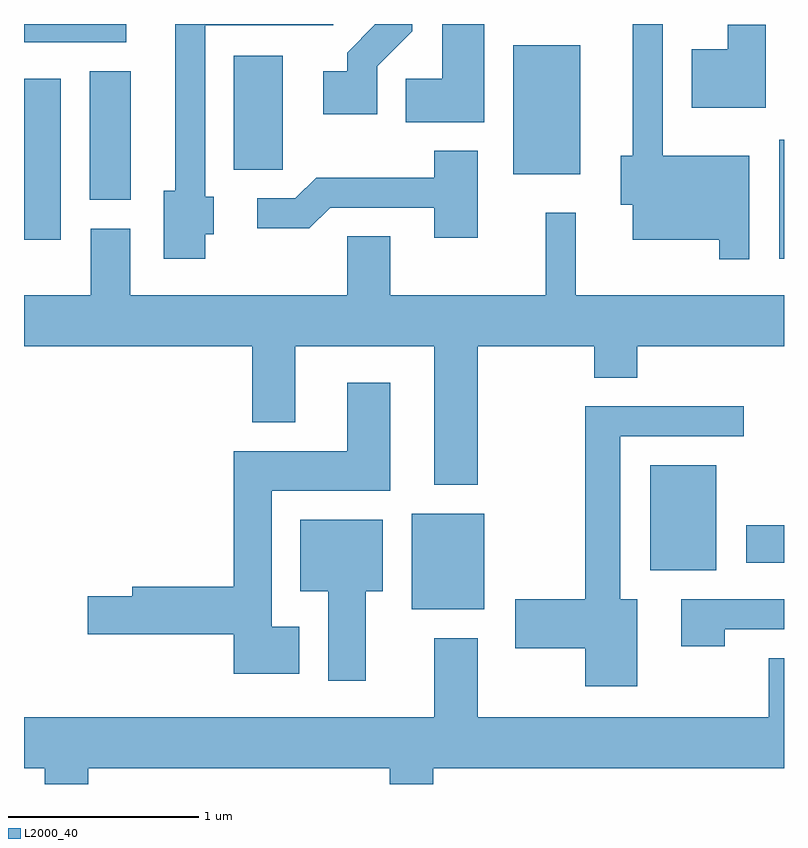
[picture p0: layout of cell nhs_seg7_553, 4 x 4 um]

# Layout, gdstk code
import gdstk
lib = gdstk.Library(unit=1e-6, precision=1e-09)
def R(c, l, rs):  # rectangles x0, y0, x1, y1
    for r in rs: c.add(gdstk.rectangle(r[:2], r[2:], *l))
def P(c, l, *ps):  # polygons
    for p in ps: c.add(gdstk.Polygon(p, *l))
L2000_40 = (2000, 40)

nhs_seg7_553 = lib.new_cell('nhs_seg7_553')
R(nhs_seg7_553, L2000_40, [(203.651,1695.171,204.034,1695.674), (204.906,1695.376,205.254,1695.929), (205.411,1695.416,205.611,1695.614), (205.586,1697.016,205.611,1697.644), (201.611,1697.116,201.804,1697.964), (201.956,1697.326,202.174,1698.004), (204.186,1697.461,204.539,1698.139), (202.716,1697.486,202.974,1698.084), (201.611,1698.156,202.149,1698.252)])
P(nhs_seg7_553, L2000_40, [(204.034,1698.252),(203.811,1698.252),(203.811,1697.964),(203.621,1697.964),(203.621,1697.736),(204.034,1697.736)],
  [(202.564,1697.146),(202.609,1697.146),(202.609,1697.344),(202.564,1697.344),(202.564,1698.246),(203.238,1698.246),(203.238,1698.252),(202.406,1698.252),(202.406,1697.374),(202.346,1697.374),(202.346,1697.016),(202.564,1697.016)],
  [(205.429,1697.559),(204.974,1697.559),(204.974,1698.252),(204.816,1698.252),(204.816,1697.559),(204.751,1697.559),(204.751,1697.301),(204.816,1697.301),(204.816,1697.116),(205.271,1697.116),(205.271,1697.013),(205.429,1697.013)],
  [(203.469,1698.029),(203.654,1698.214),(203.654,1698.252),(203.456,1698.252),(203.456,1698.247),(203.311,1698.102),(203.311,1698.004),(203.186,1698.004),(203.186,1697.776),(203.469,1697.776)],
  [(205.514,1698.249),(205.316,1698.249),(205.316,1698.119),(205.126,1698.119),(205.126,1697.811),(205.514,1697.811)],
  [(203.999,1697.584),(203.771,1697.584),(203.771,1697.444),(203.149,1697.444),(203.039,1697.334),(202.838,1697.334),(202.838,1697.176),(203.112,1697.176),(203.222,1697.286),(203.771,1697.286),(203.771,1697.126),(203.999,1697.126)],
  [(203.999,1696.556),(204.611,1696.556),(204.611,1696.391),(204.839,1696.391),(204.839,1696.556),(205.611,1696.556),(205.611,1696.824),(204.514,1696.824),(204.514,1697.258),(204.356,1697.258),(204.356,1696.824),(203.539,1696.824),(203.539,1697.134),(203.311,1697.134),(203.311,1696.824),(202.169,1696.824),(202.169,1697.174),(201.961,1697.174),(201.961,1696.824),(201.611,1696.824),(201.611,1696.556),(202.811,1696.556),(202.811,1696.156),(203.039,1696.156),(203.039,1696.556),(203.771,1696.556),(203.771,1695.826),(203.999,1695.826)],
  [(203.059,1695.079),(202.914,1695.079),(202.914,1695.796),(203.539,1695.796),(203.539,1696.364),(203.311,1696.364),(203.311,1696.004),(202.716,1696.004),(202.716,1695.289),(202.181,1695.289),(202.181,1695.239),(201.946,1695.239),(201.946,1695.041),(202.716,1695.041),(202.716,1694.831),(203.059,1694.831)],
  [(204.839,1695.224),(204.749,1695.224),(204.749,1696.081),(205.398,1696.081),(205.398,1696.239),(204.566,1696.239),(204.566,1695.224),(204.196,1695.224),(204.196,1694.966),(204.566,1694.966),(204.566,1694.766),(204.839,1694.766)],
  [(203.409,1695.266),(203.499,1695.266),(203.499,1695.644),(203.066,1695.644),(203.066,1695.266),(203.211,1695.266),(203.211,1694.796),(203.409,1694.796)],
  [(205.299,1695.066),(205.611,1695.066),(205.611,1695.224),(205.071,1695.224),(205.071,1694.976),(205.299,1694.976)],
  [(201.949,1694.336),(203.536,1694.336),(203.536,1694.252),(203.764,1694.252),(203.764,1694.336),(205.611,1694.336),(205.611,1694.914),(205.531,1694.914),(205.531,1694.604),(203.999,1694.604),(203.999,1695.019),(203.771,1695.019),(203.771,1694.604),(201.611,1694.604),(201.611,1694.336),(201.721,1694.336),(201.721,1694.252),(201.949,1694.252)])

lib.write_gds('nhs_seg7_553.gds')
